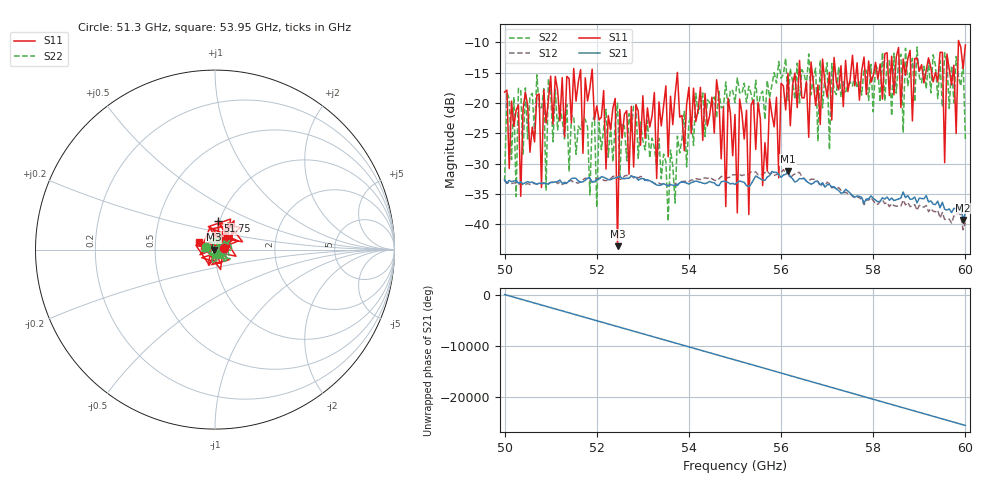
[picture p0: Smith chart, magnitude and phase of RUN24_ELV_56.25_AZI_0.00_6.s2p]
! 11/24/2026 9:53:13 AM
! C:\ANRITSUVNA\TEMP\TEMP.S2P
! CHANNEL.1
! TR.MEASUREMENT
! RAW.DATA
# HZ S RI R 50.0
! FREQ.HZ  S11RE  S11IM  S21RE  S21IM  S12RE  S12IM  S22RE  S22IM
!; PortSelection: Port_12
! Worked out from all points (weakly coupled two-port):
!   201 points, 50 GHz to 60 GHz, reference 50 ohm
!   highest |S21| = -31.26 dB at 56.15 GHz (marker M1); lowest = -39.3 dB at 59.95 GHz (marker M2)
!   lowest |S11| = -43.6 dB at 52.45 GHz (marker M3), VSWR 1.01, Z = 49.3 + j0.0474 ohm
!   |S11| at or under -10 dB: start of sweep to 59.85 GHz; 59.86491 GHz to end of sweep
!   |S22| runs from -39.5 to -10.8 dB; largest |S21 - S12| = 0.042
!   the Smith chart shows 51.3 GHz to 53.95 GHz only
!   S11 on the Smith chart (normalised r, x): 51.3 GHz: 1.11, +0.02; 51.75 GHz: 0.98, +0.32; 53.95 GHz: 0.84, +0.07
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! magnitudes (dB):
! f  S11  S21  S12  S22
! 50 GHz  -18.2  -32.7  -32.8  -32.9
! 50.35 GHz  -35.4  -33.0  -33.2  -17.8
! 50.45 GHz  -18.2  -33.1  -33.4  -17.5
! 51.3 GHz  -25.6  -33.1  -33.3  -25.9
! 51.7 GHz  -28.3  -33.0  -32.6  -22.6
! 51.75 GHz  -15.8  -32.7  -32.4  -22.7
! 52.4 GHz  -19.2  -32.4  -32.1  -23.6
! 52.45 GHz  -43.6  -32.2  -32.4  -20.0
! 52.5 GHz  -21.1  -32.0  -32.5  -32.2
! 53.35 GHz  -19.8  -33.6  -33.2  -25.8
! 53.95 GHz  -20.3  -33.2  -32.9  -30.5
! 54.6 GHz  -16.2  -33.5  -32.8  -22.5
! 54.8 GHz  -37.1  -33.0  -32.4  -16.5
! 55 GHz  -21.9  -33.4  -31.9  -19.9
! 55.3 GHz  -38.4  -33.8  -31.7  -17.2
! 55.35 GHz  -20.3  -33.3  -31.4  -18.5
! 55.95 GHz  -32.3  -31.8  -31.6  -13.2
! 56.15 GHz  -15.1  -31.3  -31.6  -19.6
! 56.7 GHz  -16.7  -33.2  -32.6  -15.9
! 58.35 GHz  -18.8  -36.0  -37.1  -13.0
! 59.95 GHz  -14.3  -39.3  -40.9  -13.0
! 60 GHz  -10.4  -38.1  -39.7  -26.1
